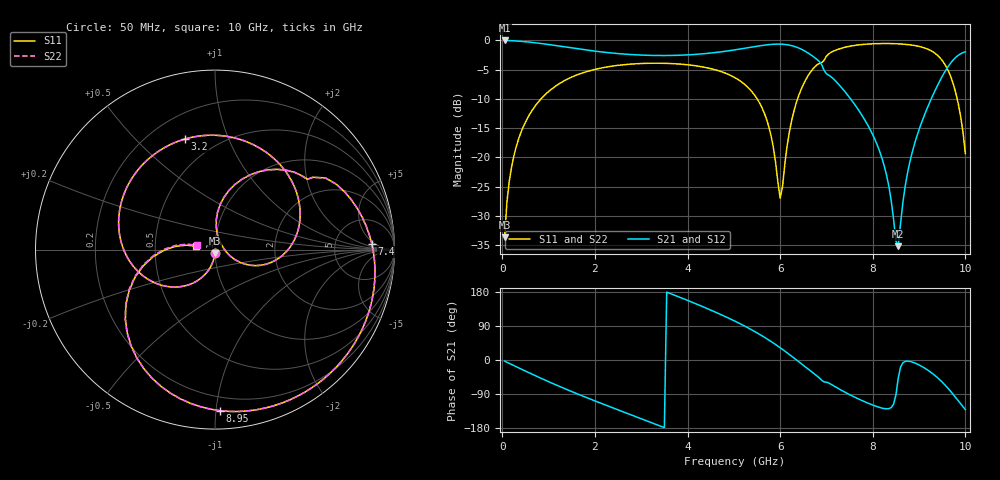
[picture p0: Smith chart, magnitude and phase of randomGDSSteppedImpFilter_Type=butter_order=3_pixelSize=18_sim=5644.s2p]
! freq	dB(S11)	phase(S11)	dB(S12)	phase(S12)
!  dB(S21)	phase(S21)	dB(S22)	phase(S22)
!S-par simulation data
#  GHz  S  DB  R 50
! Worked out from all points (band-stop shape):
!   200 points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, 50 MHz to 10 GHz, reference 50 ohm
!   highest |S21| = 0.00 dB at 50 MHz (marker M1); lowest = -35.2 dB at 8.55 GHz (marker M2)
!   |S21| within 3 dB of the highest: start of sweep to 6.756 GHz; 9.778 GHz to end of sweep
!   lowest |S11| = -33.6 dB at 50 MHz (marker M3), VSWR 1.04, Z = 49.9 - j2.07 ohm
!   |S11| at or under -10 dB: start of sweep to 835.7 MHz; 5.504 GHz to 6.376 GHz (872.7 MHz wide, 14.7 % of centre); 9.823 GHz to end of sweep
!   |S22| runs from -33.6 to -0.5 dB; largest |S21 - S12| = 0
!   S11 on the Smith chart (normalised r, x): 50 MHz: 1.00, -0.04; 3.2 GHz: 0.34, +0.71; 7.4 GHz: 14, +4; 8.95 GHz: 0.11, -1.03; 10 GHz: 0.81, +0.03
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0.05  -33.64 -92.9  -0.00 -3.0  -0.00 -3.0  -33.64 -92.9
0.2  -21.65 -102.0  -0.05 -11.8  -0.05 -11.8  -21.65 -102.0
0.5  -13.96 -119.8  -0.22 -29.3  -0.22 -29.3  -13.96 -119.8
1.1  -8.10 -153.1  -0.81 -62.5  -0.81 -62.5  -8.10 -153.1
1.75  -5.50 173.6  -1.57 -95.8  -1.57 -95.8  -5.50 173.6
3.2  -3.90 105.2  -2.56 -164.3  -2.56 -164.3  -3.90 105.3
3.4  -3.89 95.9  -2.58 -173.7  -2.58 -173.7  -3.89 95.9
4.25  -4.42 55.0  -2.34 144.8  -2.34 144.8  -4.42 55.1
5.05  -6.49 12.9  -1.58 100.9  -1.58 100.9  -6.49 12.9
5.7  -13.33 -23.9  -0.76 57.0  -0.76 57.0  -13.33 -23.9
6  -26.96 23.3  -0.63 32.4  -0.63 32.4  -26.99 23.3
6.3  -12.00 83.6  -1.01 5.1  -1.01 5.1  -12.00 83.6
6.7  -4.95 52.2  -2.67 -32.8  -2.67 -32.8  -4.95 52.3
7.4  -1.17 2.0  -8.77 -85.0  -8.77 -85.0  -1.17 2.1
8  -0.57 -33.4  -16.14 -118.9  -16.14 -118.9  -0.57 -33.4
8.35  -0.53 -52.5  -25.04 -128.2  -25.04 -128.2  -0.53 -52.5
8.55  -0.58 -63.6  -35.17 -47.6  -35.17 -47.6  -0.58 -63.6
8.7  -0.67 -72.3  -24.92 -3.5  -24.92 -3.5  -0.67 -72.3
8.95  -0.94 -88.2  -16.43 -10.1  -16.43 -10.1  -0.94 -88.3
9.55  -4.00 -142.3  -5.44 -64.7  -5.44 -64.7  -4.02 -142.7
9.8  -9.20 -173.5  -2.83 -100.4  -2.83 -100.4  -9.25 -174.4
10  -19.33 169.6  -1.94 -131.0  -1.94 -131.0  -19.62 166.3
